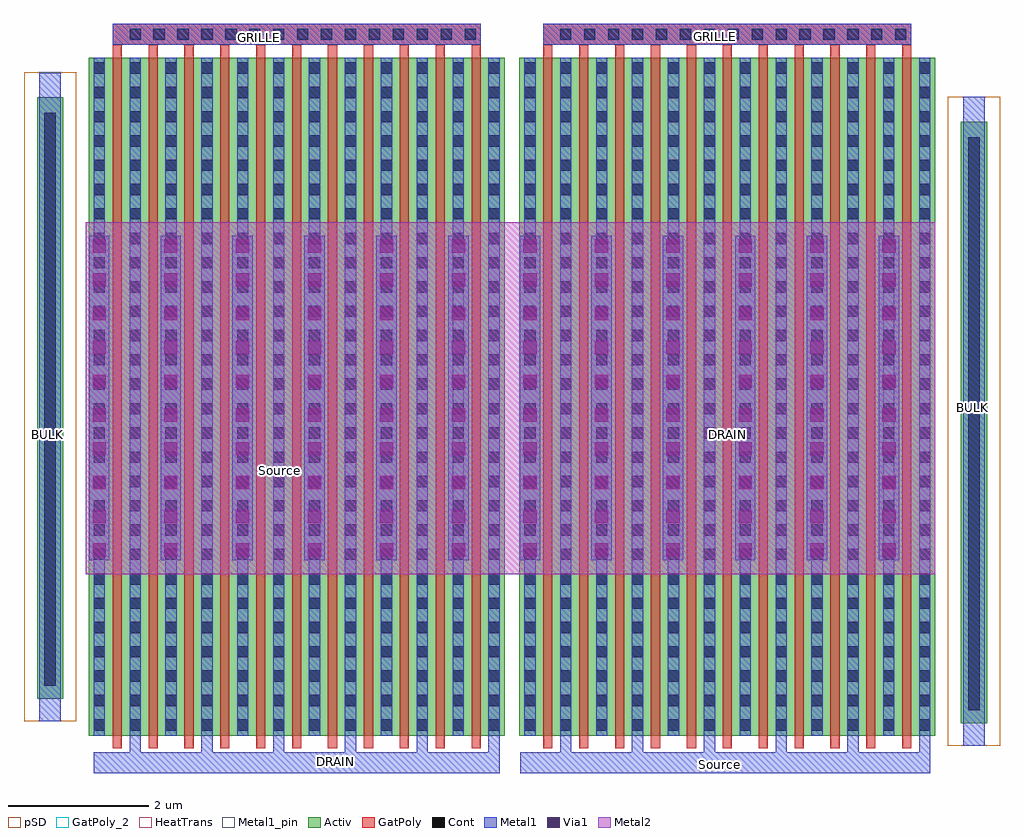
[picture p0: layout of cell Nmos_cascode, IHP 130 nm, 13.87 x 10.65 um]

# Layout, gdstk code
from math import pi, radians
import gdstk
lib = gdstk.Library(unit=1e-6, precision=1e-09)
def R(c, l, rs):  # rectangles x0, y0, x1, y1
    for r in rs: c.add(gdstk.rectangle(r[:2], r[2:], *l))
def A(c, l, x, y, w, h, nx, ny, dx, dy):  # array of equal rectangles
    R(c, l, [(x+i*dx, y+j*dy, x+i*dx+w, y+j*dy+h) for i in range(nx) for j in range(ny)])
Activ = (1, 0)
GatPoly = (5, 0)
GatPoly_2 = (5, 2)
Cont = (6, 0)
Metal1 = (8, 0)
Metal1_pin = (8, 2)
Metal2 = (10, 0)
pSD = (14, 0)
Via1 = (19, 0)
HeatTrans = (51, 0)

via_stack_11 = lib.new_cell('via_stack$11')
R(via_stack_11, Metal1, [(-0.145,-2.305,0.145,2.305)])
R(via_stack_11, Metal2, [(-0.145,-2.305,0.145,2.305)])
A(via_stack_11, Via1, -0.095, -2.255, 0.19, 0.19, 1, 10, 0, 0.48)

nmos_1 = lib.new_cell('nmos$1')
A(nmos_1, Activ, 0, 0, 0.3, 0.3, 12, 1, 0.51, 0)
R(nmos_1, Activ, [(0,0,5.91,9.635)])
A(nmos_1, GatPoly, 0.34, -0.18, 0.13, 9.995, 11, 1, 0.51, 0)
R(nmos_1, GatPoly_2, [(0.34,-0.18,0.47,9.815)])
A(nmos_1, Cont, 0.07, 0.07, 0.16, 0.16, 12, 7, 0.51, 0.345)
A(nmos_1, Cont, 0.07, 2.49, 0.16, 0.16, 12, 7, 0.51, 0.345)
A(nmos_1, Cont, 0.07, 4.91, 0.16, 0.16, 12, 7, 0.51, 0.345)
A(nmos_1, Cont, 0.07, 7.33, 0.16, 0.16, 12, 6, 0.51, 0.345)
A(nmos_1, Cont, 0.07, 9.405, 0.16, 0.16, 12, 1, 0.51, 0)
A(nmos_1, Metal1, 0.07, 0, 0.16, 9.635, 12, 1, 0.51, 0)
R(nmos_1, Metal1_pin, [(0.07,0,0.23,9.635), (0.58,0,0.74,9.635)])
A(nmos_1, HeatTrans, 0.34, -0.18, 0.13, 9.995, 11, 1, 0.51, 0)
nmos_1.add(gdstk.Label('nmos', (0.405,4.818), layer=63, texttype=0))
nmos_1.add(gdstk.Label('nmos', (0.405,4.818), layer=51, texttype=0))
nmos_1.add(gdstk.Label('nmos', (0.915,4.818), layer=51, texttype=0))
nmos_1.add(gdstk.Label('nmos', (1.425,4.818), layer=51, texttype=0))
nmos_1.add(gdstk.Label('nmos', (1.935,4.818), layer=51, texttype=0))
nmos_1.add(gdstk.Label('nmos', (2.445,4.818), layer=51, texttype=0))
nmos_1.add(gdstk.Label('nmos', (2.955,4.818), layer=51, texttype=0))
nmos_1.add(gdstk.Label('nmos', (3.465,4.818), layer=51, texttype=0))
nmos_1.add(gdstk.Label('nmos', (3.975,4.818), layer=51, texttype=0))
nmos_1.add(gdstk.Label('nmos', (4.485,4.818), layer=51, texttype=0))
nmos_1.add(gdstk.Label('nmos', (4.995,4.818), layer=51, texttype=0))
nmos_1.add(gdstk.Label('nmos', (5.505,4.818), layer=51, texttype=0))

nmos_cascode = lib.new_cell('Nmos_cascode')
R(nmos_cascode, Activ, [(5.895,-14.95,6.27,-6.4), (-7.235,-14.605,-6.86,-6.055)])
R(nmos_cascode, GatPoly, [(-6.16,-5.31,-0.93,-5.01), (-0.04,-5.31,5.19,-5.01)])
A(nmos_cascode, Cont, -5.92, -5.24, 0.16, 0.16, 15, 1, 0.34, 0)
A(nmos_cascode, Cont, 0.2, -5.24, 0.16, 0.16, 15, 1, 0.34, 0)
R(nmos_cascode, Cont, [(6,-14.765,6.16,-6.62), (-7.13,-14.42,-6.97,-6.275)])
A(nmos_cascode, Metal1, -5.92, -15.36, 0.16, 0.235, 12, 1, 1.02, 0)
R(nmos_cascode, Metal1, [(-6.43,-15.66,-0.66,-15.36), (-0.37,-15.66,5.46,-15.36), (5.93,-15.27,6.23,-6.05), (-7.2,-14.925,-6.9,-5.705), (-6.16,-5.31,-0.93,-5.01), (-0.04,-5.31,5.19,-5.01)])
R(nmos_cascode, Metal2, [(-6.54,-12.83,5.53,-7.83)])
R(nmos_cascode, pSD, [(5.71,-15.27,6.45,-6.045), (-7.42,-14.925,-6.68,-5.7)])
r = gdstk.Reference(via_stack_11, (-5.335,-10.33), rotation=pi); r.repetition = gdstk.Repetition(1, 1, v1=(0,0), v2=(0,0)); nmos_cascode.add(r)
nmos_cascode.add(gdstk.Reference(nmos_1, (-0.59,-5.49), rotation=pi))
nmos_cascode.add(gdstk.Reference(nmos_1, (5.53,-5.49), rotation=pi))
r = gdstk.Reference(via_stack_11, (-6.35,-10.33), rotation=pi); r.repetition = gdstk.Repetition(1, 1, v1=(0,0), v2=(0,0)); nmos_cascode.add(r)
r = gdstk.Reference(via_stack_11, (-3.29,-10.33), rotation=pi); r.repetition = gdstk.Repetition(1, 1, v1=(0,0), v2=(0,0)); nmos_cascode.add(r)
r = gdstk.Reference(via_stack_11, (-4.315,-10.33), rotation=pi); r.repetition = gdstk.Repetition(1, 1, v1=(0,0), v2=(0,0)); nmos_cascode.add(r)
r = gdstk.Reference(via_stack_11, (-1.245,-10.33), rotation=pi); r.repetition = gdstk.Repetition(1, 1, v1=(0,0), v2=(0,0)); nmos_cascode.add(r)
r = gdstk.Reference(via_stack_11, (-2.27,-10.33), rotation=pi); r.repetition = gdstk.Repetition(1, 1, v1=(0,0), v2=(0,0)); nmos_cascode.add(r)
r = gdstk.Reference(via_stack_11, (-0.23,-10.33), rotation=pi); r.repetition = gdstk.Repetition(1, 1, v1=(0,0), v2=(0,0)); nmos_cascode.add(r)
r = gdstk.Reference(via_stack_11, (0.785,-10.33), rotation=pi); r.repetition = gdstk.Repetition(1, 1, v1=(0,0), v2=(0,0)); nmos_cascode.add(r)
r = gdstk.Reference(via_stack_11, (2.83,-10.33), rotation=pi); r.repetition = gdstk.Repetition(1, 1, v1=(0,0), v2=(0,0)); nmos_cascode.add(r)
r = gdstk.Reference(via_stack_11, (1.805,-10.33), rotation=pi); r.repetition = gdstk.Repetition(1, 1, v1=(0,0), v2=(0,0)); nmos_cascode.add(r)
r = gdstk.Reference(via_stack_11, (4.875,-10.33), rotation=pi); r.repetition = gdstk.Repetition(1, 1, v1=(0,0), v2=(0,0)); nmos_cascode.add(r)
r = gdstk.Reference(via_stack_11, (3.85,-10.33), rotation=pi); r.repetition = gdstk.Repetition(1, 1, v1=(0,0), v2=(0,0)); nmos_cascode.add(r)
nmos_cascode.add(gdstk.Label('BULK', (-7.085,-10.85), layer=63, texttype=0))
nmos_cascode.add(gdstk.Label('BULK', (6.055,-10.47), layer=63, texttype=0))
nmos_cascode.add(gdstk.Label('GRILLE', (2.4,-5.195), layer=63, texttype=0))
nmos_cascode.add(gdstk.Label('GRILLE', (-4.08,-5.205), layer=63, texttype=0))
nmos_cascode.add(gdstk.Label('Source', (2.47,-15.54), layer=63, texttype=0))
nmos_cascode.add(gdstk.Label('DRAIN', (-2.995,-15.495), layer=63, texttype=0))
nmos_cascode.add(gdstk.Label('Source', (-3.795,-11.36), layer=63, texttype=0))
nmos_cascode.add(gdstk.Label('DRAIN', (2.575,-10.845), layer=63, texttype=0))

lib.write_gds('Nmos_cascode.gds')
